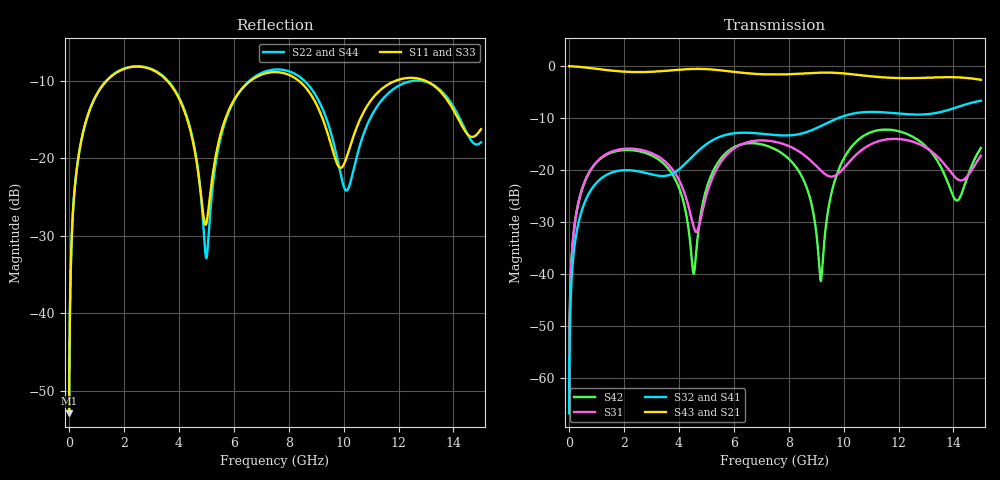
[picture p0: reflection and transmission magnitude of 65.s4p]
! Created with skrf 1.8.0 (http://scikit-rf.org).
# GHz S RI R 50.0
!freq ReS11 ImS11 ReS12 ImS12 ReS13 ImS13
! ReS14 ImS14
! ReS21 ImS21 ReS22 ImS22 ReS23 ImS23
! ReS24 ImS24
! ReS31 ImS31 ReS32 ImS32 ReS33 ImS33
! ReS34 ImS34
! ReS41 ImS41 ReS42 ImS42 ReS43 ImS43
! ReS44 ImS44
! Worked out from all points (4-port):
!   2499 points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, 5 MHz to 15 GHz, reference 50 ohm
!   strongest paths, dB at 5 MHz, 3.476 GHz, 7.19 GHz, 11.1 GHz, 15 GHz:
!     S43: 0.0, -0.9, -1.6, -2.0, -2.6
!     S21: 0.0, -0.9, -1.6, -2.0, -2.6
!     S32: -66.7, -21.1, -13.1, -8.8, -6.7
!     S41: -66.7, -21.1, -13.1, -8.8, -6.7
!     S31: -62.7, -18.2, -14.3, -14.8, -17.2
!     S42: -62.7, -18.9, -15.3, -12.5, -15.7
!   lowest |S11| = -52.9 dB at 5 MHz (marker M1), VSWR 1.00, Z = 50.2 + j0.137 ohm
!   |S11| at or under -10 dB: 3.578 GHz to 6.608 GHz (3.03 GHz wide, 59.5 % of centre); 8.371 GHz to 11.89 GHz (3.516 GHz wide, 34.7 % of centre); 12.99 GHz to end of sweep (the widest 3 of 4)
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0.005  0.0018 0.00136  0.9982 -0.0035  9.13e-05 0.000725  -8.85e-05 -0.000453
       0.9982 -0.0035  0.0018 0.00136  -8.85e-05 -0.000453  9.11e-05 0.000725
       9.13e-05 0.000725  -8.85e-05 -0.000453  0.0018 0.00136  0.9982 -0.0035
       -8.85e-05 -0.000453  9.11e-05 0.000725  0.9982 -0.0035  0.0018 0.00136
0.3126303  0.028 0.0889  0.9616 -0.2167  0.0136 0.0425  -0.011 -0.0261
           0.9616 -0.2167  0.0281 0.0889  -0.011 -0.0261  0.0129 0.0427
           0.0136 0.0425  -0.011 -0.0261  0.028 0.0889  0.9616 -0.2167
           -0.011 -0.0261  0.0129 0.0427  0.9616 -0.2167  0.0281 0.0889
1.469362  0.2802 0.1738  0.5238 -0.7434  0.1374 0.0535  -0.0928 -0.00195
          0.5238 -0.7434  0.2828 0.1719  -0.0929 -0.0019  0.13 0.0642
          0.1374 0.0535  -0.0929 -0.0019  0.2802 0.1738  0.5237 -0.7434
          -0.0928 -0.00195  0.13 0.0642  0.5237 -0.7434  0.2829 0.1719
5  0.0376 0.00524  -0.9332 -0.0565  -0.009 0.0558  -0.00617 0.1771
   -0.9332 -0.0565  0.0226 -0.00145  -0.00547 0.1772  0.0198 0.0623
   -0.009 0.0558  -0.00547 0.1772  0.0371 0.00332  -0.9332 -0.0567
   -0.00617 0.1771  0.0198 0.0623  -0.9332 -0.0567  0.0234 -0.00325
7.603168  0.3594 -0.00824  -0.0638 0.8271  0.1499 -0.1081  0.2105 -0.0484
          -0.0638 0.8271  0.3743 -0.0135  0.2108 -0.0501  0.1477 -0.0434
          0.1499 -0.1081  0.2108 -0.0501  0.3577 -0.00727  -0.0626 0.8277
          0.2105 -0.0484  0.1477 -0.0434  -0.0626 0.8277  0.3733 -0.0156
9.172572  0.1504 -0.1204  0.6597 0.5581  -0.0686 -0.0715  0.1659 -0.2072
          0.6597 0.5581  0.1513 -0.1605  0.1638 -0.2088  0.00811 0.00296
          -0.0686 -0.0715  0.1638 -0.2088  0.15 -0.1188  0.6616 0.5563
          0.1659 -0.2072  0.00811 0.00296  0.6616 0.5563  0.1491 -0.1605
15  0.1515 0.0272  -0.716 -0.1842  -0.0246 0.1355  -0.1009 0.453
    -0.716 -0.1842  0.1263 0.00954  -0.0959 0.4545  -0.0055 0.1636
    -0.0246 0.1355  -0.0959 0.4545  0.1513 0.0218  -0.7174 -0.1771
    -0.1009 0.453  -0.0055 0.1636  -0.7174 -0.1771  0.1289 0.00678
